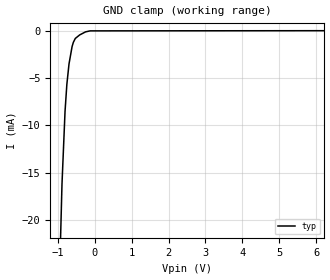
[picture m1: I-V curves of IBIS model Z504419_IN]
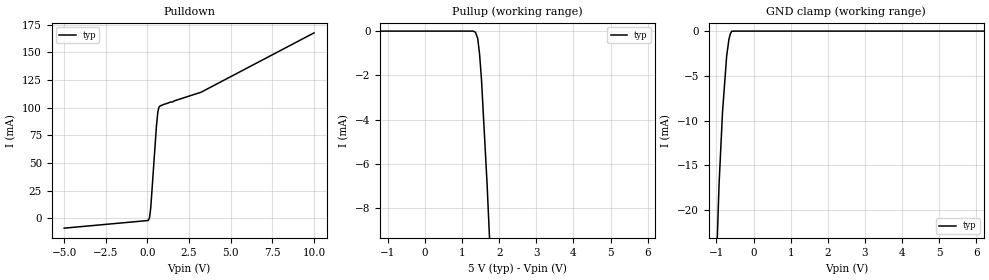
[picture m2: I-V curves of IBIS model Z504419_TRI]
| YOU ARE ONLY AUTHORIZED TO USE THIS SOFTWARE
| ACCORDING TO LICENSOR'S LICENSE RESTRICTIONS.
[IBIS Ver] 3.1
[File Name] sn54ls244j.ibs
[File Rev] 2.0
[Source] Measured and created by ICX Technology
[Date] Friday 7/14/00 9:08:14 AM
[Copyright]
| (C) COPYRIGHT 1993-2000
| MENTOR GRAPHICS CORPORATION
| ICX STANDARD LIBRARY, ICX PROJECT MODELING,
| ICX CUSTOM MODELING, ICX VENDOR MODEL
| ALL RIGHTS RESERVED.
| THE FOLLOWING ARE TRADEMARKS OR SERVICE MARKS OF
| MENTOR GRAPHICS CORPORATION:ICX (R), ICX STANDARD
| LIBRARY(R), ICX PROJECT MODELING(R), ICX CUSTOM
| MODELING(R), qualityIBIS(TM), MODELVIEWER(TM),
| AND MODELEDITOR(TM)
| ALL COPIES OF SOFTWARE, INCLUDING BUT NOT LIMITED TO
| ANY MODIFICATIONS, ENHANCEMENTS OR DERIVATIVE WORKS,
| MUST CONTAIN ALL MENTOR GRAPHICS CORPORATION'S
| NOTICES AND LEGENDS, INCLUDING THOSE EMBEDDED IN
| SOFTWARE AND THOSE AFFIXED TO SOFTWARE MEDIUM
| AND CONTAINER, AS RECEIVED FROM MENTOR GRAPHICS
| CORPORATION.
|  ZAP Model Builder 2.7
[Component] SN54LS244J
[Manufacturer] OnSemiconductor
[Package]
| variable   typ   min   max
R_pkg  .216ohms NA NA
L_pkg  5.76nH NA NA
C_pkg  2.193pF NA NA
[Pin] signal_name  model_name  R_pin  L_pin C_pin
1 _G Z504419_IN .232 9.76n 3.179p
2 A0 Z504419_IN .224 7.26n 2.686p
3 Y3 Z504419_TRI .216 5.26n 2.193p
4 A1 Z504419_IN .208 3.76n 1.7p
5 Y2 Z504419_TRI .2 2.76n 1.207p
6 A2 Z504419_IN .2 2.76n 1.207p
7 Y1 Z504419_TRI .208 3.76n 1.7p
8 A3 Z504419_IN .216 5.26n 2.193p
9 Y0 Z504419_TRI .224 7.26n 2.686p
10 GND GND .232 9.76n 3.179p
11 A0 Z504419_IN .232 9.76n 3.179p
12 Y3 Z504419_TRI .224 7.26n 2.686p
13 A1 Z504419_IN .216 5.26n 2.193p
14 Y2 Z504419_TRI .208 3.76n 1.7p
15 A2 Z504419_IN .2 2.76n 1.207p
16 Y1 Z504419_TRI .2 2.76n 1.207p
17 A3 Z504419_IN .208 3.76n 1.7p
18 Y0 Z504419_TRI .216 5.26n 2.193p
19 _G Z504419_IN .224 7.26n 2.686p
20 VCC POWER .232 9.76n 3.179p
| Models and submodels in the file (2): Z504419_IN (Input), Z504419_TRI (3-state)
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| (C) COPYRIGHT 1993-2000
| MENTOR GRAPHICS CORPORATION
| ICX STANDARD LIBRARY, ICX PROJECT MODELING,
| ICX CUSTOM MODELING, ICX VENDOR MODEL
| ALL RIGHTS RESERVED.
| THE FOLLOWING ARE TRADEMARKS OR SERVICE MARKS OF
| MENTOR GRAPHICS CORPORATION:ICX (R), ICX STANDARD
| LIBRARY(R), ICX PROJECT MODELING(R), ICX CUSTOM
| MODELING(R), qualityIBIS(TM), MODELVIEWER(TM),
| AND MODELEDITOR(TM)
| ALL COPIES OF SOFTWARE, INCLUDING BUT NOT LIMITED TO
| ANY MODIFICATIONS, ENHANCEMENTS OR DERIVATIVE WORKS,
| MUST CONTAIN ALL MENTOR GRAPHICS CORPORATION'S
| NOTICES AND LEGENDS, INCLUDING THOSE EMBEDDED IN
| SOFTWARE AND THOSE AFFIXED TO SOFTWARE MEDIUM
| AND CONTAINER, AS RECEIVED FROM MENTOR GRAPHICS
| CORPORATION.
| Model Application Version 1.89 2/18/99.
[Model] Z504419_IN
Model_type Input
Vinl = 800.0mV
Vinh = 2.000V
C_comp 4.000pF NA NA
| variable typ   min   max
[Voltage Range] 5.000V NA NA
[GND Clamp Reference] 0.000V NA NA
[POWER Clamp Reference] 5.000V NA NA
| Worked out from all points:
|   GND clamp passes 1 mA (typ) near -0.54 V on its own axis
[GND Clamp]
-5V       -627.2mA   NA         NA
-883.3mV  -16.22mA   NA         NA
-800.6mV  -8.523mA   NA         NA
-751.5mV  -5.678mA   NA         NA
-693.4mV  -3.524mA   NA         NA
-610.3mV  -1.689mA   NA         NA
-576.2mV  -1.244mA   NA         NA
-522.5mV  -825.3uA   NA         NA
-405mV    -456.7uA   NA         NA
-245.6mV  -132.9uA   NA         NA
-122.8mV  -27.71uA   NA         NA
10V       2.976uA    NA         NA
[POWER Clamp]
-5V       0A         NA         NA
10V       0A         NA         NA
| (C) COPYRIGHT 1993-2000
| MENTOR GRAPHICS CORPORATION
| ICX STANDARD LIBRARY, ICX PROJECT MODELING,
| ICX CUSTOM MODELING, ICX VENDOR MODEL
| ALL RIGHTS RESERVED.
| THE FOLLOWING ARE TRADEMARKS OR SERVICE MARKS OF
| MENTOR GRAPHICS CORPORATION:ICX (R), ICX STANDARD
| LIBRARY(R), ICX PROJECT MODELING(R), ICX CUSTOM
| MODELING(R), qualityIBIS(TM), MODELVIEWER(TM),
| AND MODELEDITOR(TM)
| ALL COPIES OF SOFTWARE, INCLUDING BUT NOT LIMITED TO
| ANY MODIFICATIONS, ENHANCEMENTS OR DERIVATIVE WORKS,
| MUST CONTAIN ALL MENTOR GRAPHICS CORPORATION'S
| NOTICES AND LEGENDS, INCLUDING THOSE EMBEDDED IN
| SOFTWARE AND THOSE AFFIXED TO SOFTWARE MEDIUM
| AND CONTAINER, AS RECEIVED FROM MENTOR GRAPHICS
| CORPORATION.
| Model Application Version 1.89 2/18/99.
[Model] Z504419_TRI
Model_type 3-state
Vref=588.0mV
Rref=588.5ohms
Cref=45.00pF
Vmeas=1.300V
C_comp 8.000pF NA NA
| variable typ   min   max
[Voltage Range] 5.000V NA NA
[POWER Clamp Reference] 5.000V NA NA
[Pullup Reference] 5.000V NA NA
[Pulldown Reference] 0.000V NA NA
[GND Clamp Reference] 0.000V NA NA
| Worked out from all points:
|   slope of the pulldown table from 0 to 0.75 V, typ, clamps not added: 7.26 ohm
|   GND clamp passes 1 mA (typ) near -0.66 V on its own axis
[GND Clamp]
-5V       -746.2mA   NA         NA
-1.03V    -30.05mA   NA         NA
-927.4mV  -17.1mA    NA         NA
-834.9mV  -9.068mA   NA         NA
-722.8mV  -2.778mA   NA         NA
-662.3mV  -932.4uA   NA         NA
-624.5mV  -310.3uA   NA         NA
-585.9mV  -12.25uA   NA         NA
-439.4mV  0A         NA         NA
10V       0A         NA         NA
[Pulldown]
-5V       -8.849mA   NA         NA
30.36mV   -1.945mA   NA         NA
87.89mV   -842.2uA   NA         NA
131.4mV   1.351mA    NA         NA
199.9mV   9.924mA    NA         NA
537.6mV   83.16mA    NA         NA
622mV     95.88mA    NA         NA
678.7mV   99.92mA    NA         NA
717.8mV   101mA      NA         NA
1.392V    105.1mA    NA         NA
3.216V    113.9mA    NA         NA
10V       167.5mA    NA         NA
[Pullup]
-5V       295.3nA    NA         NA
1.3V      295.3nA    NA         NA
1.363V    -55.97uA   NA         NA
1.421V    -315.8uA   NA         NA
1.471V    -1.008mA   NA         NA
1.523V    -2.162mA   NA         NA
1.675V    -6.915mA   NA         NA
10V       -317.6mA   NA         NA
[POWER Clamp]
-5V       0A         NA         NA
10V       0A         NA         NA
[Ramp]
| variable typ min max
dV/dt_r 1.939/5.964n NA NA
dV/dt_f 1.939/1.527n NA NA
R_load = 500.0Ohms
